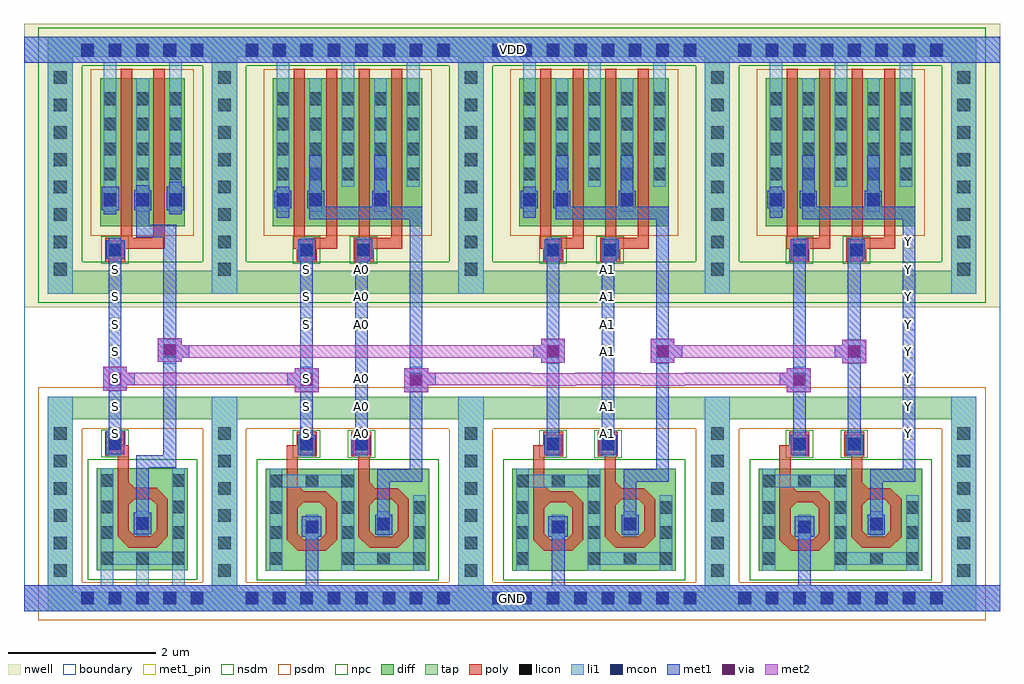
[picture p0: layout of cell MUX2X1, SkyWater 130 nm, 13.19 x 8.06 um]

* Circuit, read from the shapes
.subckt MUX2X1 A0 A1 GND S VDD Y
XM1 GND S n1 GND sky130_fd_pr__nfet_01v8 w=2.56 l=0.1478
XM2 n2 S GND GND sky130_fd_pr__nfet_01v8 w=2.6 l=0.147
XM3 n2 A0 n3 GND sky130_fd_pr__nfet_01v8 w=2.56 l=0.1475
XM4 n4 n1 GND GND sky130_fd_pr__nfet_01v8 w=2.6 l=0.147
XM5 n4 A1 n5 GND sky130_fd_pr__nfet_01v8 w=2.56 l=0.1475
XM6 n6 n3 GND GND sky130_fd_pr__nfet_01v8 w=2.6 l=0.1468
XM7 n6 n5 Y GND sky130_fd_pr__nfet_01v8 w=2.56 l=0.1473
XM8 n1 S VDD VDD sky130_fd_pr__pfet_01v8 w=2 l=0.15 m=2
XM9 n3 S VDD VDD sky130_fd_pr__pfet_01v8 w=2 l=0.15 m=2
XM10 n3 A0 VDD VDD sky130_fd_pr__pfet_01v8 w=2 l=0.15 m=2
XM11 n5 n1 VDD VDD sky130_fd_pr__pfet_01v8 w=2 l=0.15 m=2
XM12 n5 A1 VDD VDD sky130_fd_pr__pfet_01v8 w=2 l=0.15 m=2
XM13 Y n3 VDD VDD sky130_fd_pr__pfet_01v8 w=2 l=0.15 m=2
XM14 Y n5 VDD VDD sky130_fd_pr__pfet_01v8 w=2 l=0.15 m=2
.ends

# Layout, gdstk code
from math import pi, radians
import gdstk
lib = gdstk.Library(unit=1e-6, precision=1e-09)
def R(c, l, rs):  # rectangles x0, y0, x1, y1
    for r in rs: c.add(gdstk.rectangle(r[:2], r[2:], *l))
def A(c, l, x, y, w, h, nx, ny, dx, dy):  # array of equal rectangles
    R(c, l, [(x+i*dx, y+j*dy, x+i*dx+w, y+j*dy+h) for i in range(nx) for j in range(ny)])
def P(c, l, *ps):  # polygons
    for p in ps: c.add(gdstk.Polygon(p, *l))
nwell = (64, 20)
diff = (65, 20)
tap = (65, 44)
poly = (66, 20)
licon = (66, 44)
li1 = (67, 20)
mcon = (67, 44)
met1_pin = (68, 16)
met1 = (68, 20)
via = (68, 44)
met2 = (69, 20)
nsdm = (93, 44)
psdm = (94, 20)
npc = (95, 20)
boundary = (235, 4)

poly_li1_contact = lib.new_cell('poly_li1_contact')
R(poly_li1_contact, poly, [(-0.16,-0.14,0.17,0.13)])
R(poly_li1_contact, licon, [(-0.08,-0.09,0.09,0.08)])
R(poly_li1_contact, li1, [(-0.16,-0.09,0.17,0.08)])
R(poly_li1_contact, npc, [(-0.18,-0.19,0.19,0.18)])

pmos2 = lib.new_cell('pmos2')
R(pmos2, nwell, [(0.26,-2.18,1.76,0.18)])
R(pmos2, diff, [(0.44,-2,1.58,0)])
R(pmos2, poly, [(0.72,-2.305,1.31,-2.155), (0.72,-2.155,0.87,0.13), (1.16,-2.155,1.31,0.13)])
A(pmos2, licon, 0.49, -1.38, 0.17, 0.17, 3, 4, 0.44, 0.34)
R(pmos2, li1, [(0.49,-1.465,0.66,0.21), (0.93,-1.465,1.1,0), (1.37,-1.465,1.54,0.21)])
R(pmos2, psdm, [(0.315,-2.125,1.705,0.125)])

nmos_top = lib.new_cell('nmos_top')
R(nmos_top, diff, [(0,0,1.23,1.38)])
R(nmos_top, poly, [(0.42,0.31,0.8,0.46), (0.27,0.46,0.42,0.965), (0.8,0.46,0.95,0.965), (0.42,0.965,0.95,1.115), (0.8,1.115,0.95,1.54)])
P(nmos_top, poly, [(0.72,1.115),(0.8,1.115),(0.8,1.195)],
  [(0.27,0.965),(0.42,0.965),(0.42,1.115)],
  [(0.42,0.885),(0.42,0.965),(0.5,0.965)],
  [(0.72,0.965),(0.8,0.965),(0.8,0.885)],
  [(0.42,0.54),(0.42,0.46),(0.5,0.46)],
  [(0.72,0.46),(0.8,0.46),(0.8,0.54)],
  [(0.27,0.46),(0.42,0.46),(0.42,0.31)],
  [(0.8,0.31),(0.8,0.46),(0.95,0.46)])
R(nmos_top, licon, [(0.04,0.08,0.21,0.25), (0.53,0.08,0.7,0.25), (1.01,0.08,1.18,0.25), (0.04,0.43,0.21,0.6), (1.01,0.43,1.18,0.6), (0.53,0.55,0.7,0.72), (0.04,0.77,0.21,0.94), (1.01,0.77,1.18,0.94), (0.04,1.13,0.21,1.3), (1.01,1.13,1.18,1.3)])
R(nmos_top, li1, [(0.04,0,0.21,0.08), (1.01,0,1.18,0.08), (0.04,0.08,1.18,0.25), (0.04,0.25,0.21,1.38), (1.01,0.25,1.18,1.38), (0.53,0.47,0.7,0.805)])
R(nmos_top, nsdm, [(-0.125,-0.125,1.355,1.505)])

diff_ring_side = lib.new_cell('diff_ring_side')
R(diff_ring_side, nwell, [(-0.435,3.93,0.435,7.75)])
R(diff_ring_side, tap, [(-0.17,-0.17,0.17,2.72), (-0.17,4.11,0.17,7.57)])
A(diff_ring_side, licon, -0.085, 0.285, 0.17, 0.17, 1, 6, 0, 0.37)
A(diff_ring_side, licon, -0.085, 4.355, 0.17, 0.17, 1, 8, 0, 0.37)
R(diff_ring_side, li1, [(-0.17,-0.17,0.17,2.72), (-0.17,4.11,0.17,7.57)])
R(diff_ring_side, met1, [(-0.17,-0.17,0.17,0.17), (-0.17,7.23,0.17,7.57)])
R(diff_ring_side, nsdm, [(-0.295,3.985,0.295,7.695)])
R(diff_ring_side, psdm, [(-0.295,-0.295,0.295,2.845)])

invx1_pcell = lib.new_cell('invx1_pcell')
R(invx1_pcell, nwell, [(-0.435,3.93,2.655,7.75)])
A(invx1_pcell, diff, 0.59, 5.295, 0.17, 0.17, 3, 1, 0.44, 0)
R(invx1_pcell, tap, [(0.17,-0.17,2.05,0.085), (0.17,2.41,2.05,2.72), (0.17,4.11,2.05,4.42), (0.17,7.315,2.05,7.57)])
R(invx1_pcell, poly, [(0.775,1.905,0.925,2.065)])
A(invx1_pcell, licon, 0.285, -0.085, 0.17, 0.17, 5, 2, 0.37, 7.4)
A(invx1_pcell, licon, 0.59, 5.295, 0.17, 0.17, 3, 1, 0.44, 0)
A(invx1_pcell, li1, 0.59, 5.215, 0.17, 0.37, 3, 1, 0.44, 0)
R(invx1_pcell, li1, [(-0.17,-0.17,2.33,0.17), (0.545,0.17,0.715,0.42), (1.025,0.17,1.195,0.45), (1.515,0.17,1.685,0.45), (1.025,0.92,1.195,1.09), (0.655,2,0.825,2.17), (0.655,4.615,0.825,4.785), (-0.17,7.23,2.39,7.57)])
A(invx1_pcell, mcon, 0.285, -0.085, 0.17, 0.17, 5, 2, 0.37, 7.4)
A(invx1_pcell, mcon, 0.59, 5.295, 0.17, 0.17, 3, 1, 0.44, 0)
R(invx1_pcell, mcon, [(1.025,0.92,1.195,1.09), (0.655,2,0.825,2.17), (0.655,4.615,0.825,4.785)])
R(invx1_pcell, met1, [(-0.17,-0.17,2.39,0.17), (0.99,0.86,1.23,1.15), (1.025,1.15,1.195,1.755), (1.025,1.755,1.565,1.925), (1.395,1.925,1.565,4.875), (0.615,1.94,0.865,2.25), (0.655,2.25,0.825,4.58), (0.62,4.58,0.87,4.83), (0.655,4.83,0.825,4.865), (1.03,4.875,1.565,5.045), (1.03,5.045,1.2,5.24), (0.59,5.185,0.76,5.24), (1.47,5.185,1.64,5.24), (0.56,5.24,0.795,5.555), (1,5.24,1.23,5.505), (1.44,5.24,1.675,5.555), (1.03,5.505,1.2,5.575), (1.47,5.555,1.64,5.62), (-0.17,7.23,2.39,7.57)])
R(invx1_pcell, nsdm, [(0.045,3.985,2.175,4.545), (0.045,7.19,2.175,7.695)])
R(invx1_pcell, psdm, [(0.045,-0.295,2.175,0.21), (0.045,2.285,2.175,2.845), (0.465,5.17,1.765,5.59)])
invx1_pcell.add(gdstk.Reference(poly_li1_contact, (0.735,2.08), rotation=pi/2))
invx1_pcell.add(gdstk.Reference(poly_li1_contact, (0.745,4.705), rotation=3*pi/2))
invx1_pcell.add(gdstk.Reference(pmos2, (0.1,7.02)))
invx1_pcell.add(gdstk.Reference(nmos_top, (1.725,0.37), rotation=pi, x_reflection=True))
invx1_pcell.add(gdstk.Reference(diff_ring_side, (0,0)))
invx1_pcell.add(gdstk.Reference(diff_ring_side, (2.22,0)))

li1_m1_contact = lib.new_cell('li1_M1_contact')
R(li1_m1_contact, li1, [(-0.085,-0.165,0.085,0.165)])
R(li1_m1_contact, mcon, [(-0.085,-0.085,0.085,0.085)])
R(li1_m1_contact, met1, [(-0.115,-0.115,0.115,-0.085), (-0.265,-0.085,0.145,0.085), (-0.115,0.085,0.115,0.115)])

nmos_bottom = lib.new_cell('nmos_bottom')
R(nmos_bottom, diff, [(0,0,1.24,1.38)])
R(nmos_bottom, poly, [(0.43,0.27,0.81,0.42), (0.28,0.42,0.43,0.925), (0.81,0.42,0.96,0.925), (0.43,0.925,0.96,1.075), (0.81,1.075,0.96,1.51)])
P(nmos_bottom, poly, [(0.73,1.075),(0.81,1.075),(0.81,1.155)],
  [(0.28,0.925),(0.43,0.925),(0.43,1.075)],
  [(0.43,0.845),(0.43,0.925),(0.51,0.925)],
  [(0.73,0.925),(0.81,0.925),(0.81,0.845)],
  [(0.43,0.5),(0.43,0.42),(0.51,0.42)],
  [(0.73,0.42),(0.81,0.42),(0.81,0.5)],
  [(0.28,0.42),(0.43,0.42),(0.43,0.27)],
  [(0.81,0.27),(0.81,0.42),(0.96,0.42)])
A(nmos_bottom, licon, 0.05, 1.13, 0.17, 0.17, 3, 1, 0.485, 0)
R(nmos_bottom, licon, [(0.05,0.08,0.22,0.25), (1.02,0.08,1.19,0.25), (0.05,0.43,0.22,0.6), (1.02,0.43,1.19,0.6), (0.535,0.505,0.705,0.675), (0.05,0.77,0.22,0.94), (1.02,0.77,1.19,0.94)])
R(nmos_bottom, li1, [(0.05,0,0.22,1.13), (1.02,0,1.19,1.13), (0.535,0.425,0.705,0.755), (0.05,1.13,1.19,1.3), (0.05,1.3,0.22,1.38), (1.02,1.3,1.19,1.38)])
R(nmos_bottom, nsdm, [(-0.125,-0.125,1.365,1.505)])

nmos_top_trim1 = lib.new_cell('nmos_top_trim1')
R(nmos_top_trim1, diff, [(0,0,1.24,1.38)])
R(nmos_top_trim1, poly, [(0.43,0.31,0.81,0.46), (0.28,0.46,0.43,0.965), (0.81,0.46,0.96,0.965), (0.43,0.965,0.96,1.115), (0.81,1.115,0.96,1.545)])
P(nmos_top_trim1, poly, [(0.73,1.115),(0.81,1.115),(0.81,1.195)],
  [(0.28,0.965),(0.43,0.965),(0.43,1.115)],
  [(0.43,0.885),(0.43,0.965),(0.51,0.965)],
  [(0.73,0.965),(0.81,0.965),(0.81,0.885)],
  [(0.43,0.54),(0.43,0.46),(0.51,0.46)],
  [(0.73,0.46),(0.81,0.46),(0.81,0.54)],
  [(0.28,0.46),(0.43,0.46),(0.43,0.31)],
  [(0.81,0.31),(0.81,0.46),(0.96,0.46)])
A(nmos_top_trim1, licon, 0.05, 0.08, 0.17, 0.17, 3, 1, 0.485, 0)
R(nmos_top_trim1, licon, [(0.05,0.43,0.22,0.6), (1.02,0.43,1.19,0.6), (0.535,0.55,0.705,0.72), (0.05,0.77,0.22,0.94), (1.02,0.77,1.19,0.94), (1.02,1.13,1.19,1.3)])
R(nmos_top_trim1, li1, [(0.05,0,0.22,0.08), (1.02,0,1.19,0.08), (0.05,0.08,1.19,0.25), (0.05,0.25,0.22,1.02), (1.02,0.25,1.19,1.38), (0.535,0.47,0.705,0.805)])
R(nmos_top_trim1, nsdm, [(-0.125,-0.125,1.365,1.505)])

nand2x1_pcell = lib.new_cell('nand2x1_pcell')
R(nand2x1_pcell, nwell, [(0.435,3.93,2.895,7.75)])
R(nand2x1_pcell, diff, [(1.115,5.265,1.345,5.5), (1.995,5.265,2.225,5.5), (0.705,5.295,0.875,5.465)])
R(nand2x1_pcell, tap, [(0.17,-0.17,3.16,-0.15), (0.155,-0.15,3.175,0.085), (0.155,2.4,0.17,2.41), (3.16,2.4,3.175,2.41), (0.155,2.41,3.175,2.71), (0.17,2.71,3.16,2.72), (0.17,4.11,3.16,4.42), (0.17,7.315,3.16,7.57)])
R(nand2x1_pcell, poly, [(0.84,1.875,0.99,2.065), (1.81,1.91,1.96,1.915)])
A(nand2x1_pcell, licon, 0.285, -0.085, 0.17, 0.17, 8, 2, 0.37, 7.4)
R(nand2x1_pcell, licon, [(0.705,5.295,0.875,5.465), (1.145,5.295,1.315,5.465), (2.025,5.295,2.195,5.465)])
R(nand2x1_pcell, li1, [(0.165,-0.17,3.295,0.17), (1.095,0.87,1.265,1.04), (2.065,0.915,2.235,1.085), (1.025,1.995,1.195,2.165), (1.765,1.995,1.935,2.165), (1.025,4.615,1.195,4.785), (1.795,4.615,1.965,4.785), (0.705,5.215,0.875,5.61), (1.145,5.215,1.315,5.61), (2.025,5.215,2.195,5.61), (-0.17,7.23,3.17,7.57)])
A(nand2x1_pcell, mcon, 0.285, -0.085, 0.17, 0.17, 8, 2, 0.37, 7.4)
R(nand2x1_pcell, mcon, [(1.095,0.87,1.265,1.04), (2.065,0.915,2.235,1.085), (1.025,1.995,1.195,2.165), (1.765,1.995,1.935,2.165), (1.025,4.615,1.195,4.785), (1.795,4.615,1.965,4.785), (0.705,5.295,0.875,5.465), (1.145,5.295,1.315,5.465), (2.025,5.295,2.195,5.465)])
R(nand2x1_pcell, met1, [(-0.17,-0.17,3.5,0.17), (1.095,0.17,1.265,0.825), (1.045,0.825,1.31,1.1), (2.035,0.855,2.265,1.12), (2.065,1.12,2.235,1.57), (2.065,1.57,2.675,1.74), (2.505,1.74,2.675,5.115), (0.99,1.935,1.23,2.205), (1.735,1.935,1.97,2.205), (1.025,2.205,1.195,4.56), (1.765,2.205,1.935,4.555), (1.765,4.555,1.97,4.58), (0.995,4.56,1.23,4.845), (1.765,4.58,1.995,4.845), (1.145,5.115,2.675,5.265), (0.705,5.135,0.875,5.265), (0.675,5.265,0.905,5.5), (1.115,5.265,2.675,5.285), (1.115,5.285,1.345,5.5), (1.995,5.285,2.225,5.5), (0.705,5.5,0.875,5.555), (1.145,5.5,1.315,5.98), (2.025,5.5,2.195,5.98), (-0.17,7.23,3.5,7.57)])
R(nand2x1_pcell, nsdm, [(0.045,3.985,3.285,4.545), (0.045,7.19,3.285,7.695)])
R(nand2x1_pcell, psdm, [(0.045,-0.295,3.285,-0.275), (0.03,-0.275,3.3,0.21), (0.03,2.275,0.295,2.285), (3.035,2.275,3.3,2.285), (0.03,2.285,3.3,2.835), (0.045,2.835,3.285,2.845), (0.99,5.14,1.47,5.17), (1.87,5.14,2.35,5.625), (0.58,5.17,1.47,5.59), (0.99,5.59,1.47,5.625)])
nand2x1_pcell.add(gdstk.Reference(diff_ring_side, (0,0)))
nand2x1_pcell.add(gdstk.Reference(nmos_bottom, (1.8,0.365), rotation=pi, x_reflection=True))
nand2x1_pcell.add(gdstk.Reference(pmos2, (0.215,7.02)))
nand2x1_pcell.add(gdstk.Reference(poly_li1_contact, (1.115,4.705), rotation=3*pi/2))
nand2x1_pcell.add(gdstk.Reference(poly_li1_contact, (1.115,2.085), rotation=3*pi/2))
nand2x1_pcell.add(gdstk.Reference(nmos_top_trim1, (2.77,0.365), rotation=pi, x_reflection=True))
nand2x1_pcell.add(gdstk.Reference(pmos2, (1.095,7.02)))
nand2x1_pcell.add(gdstk.Reference(poly_li1_contact, (1.845,2.075), rotation=pi/2))
nand2x1_pcell.add(gdstk.Reference(poly_li1_contact, (1.885,4.705), rotation=3*pi/2))
nand2x1_pcell.add(gdstk.Reference(diff_ring_side, (3.33,0)))

mux2x1_pcell = lib.new_cell('mux2x1_pcell')
R(mux2x1_pcell, met1, [(3.17,2.78,3.49,3.1), (4.65,2.78,4.97,3.1), (9.82,2.78,10.14,3.1), (0.58,2.8,0.9,3.12), (10.57,3.17,10.89,3.49), (6.5,3.18,6.82,3.5), (7.98,3.18,8.3,3.5), (1.32,3.19,1.64,3.51)])
R(mux2x1_pcell, via, [(3.255,2.865,3.405,3.015), (4.735,2.865,4.885,3.015), (9.905,2.865,10.055,3.015), (0.665,2.885,0.815,3.035), (10.655,3.255,10.805,3.405), (6.585,3.265,6.735,3.415), (8.065,3.265,8.215,3.415), (1.405,3.275,1.555,3.425)])
R(mux2x1_pcell, met2, [(3.17,2.78,3.49,2.875), (4.65,2.78,4.97,2.875), (9.82,2.78,10.14,2.875), (0.58,2.8,0.9,2.875), (6.36,2.865,6.96,2.875), (7.84,2.865,8.44,2.875), (0.58,2.875,3.49,3.045), (4.65,2.875,10.14,3.035), (4.65,3.035,6.36,3.045), (6.96,3.035,7.84,3.045), (8.44,3.035,10.14,3.045), (0.58,3.045,0.9,3.12), (3.17,3.045,3.49,3.1), (4.65,3.045,4.97,3.1), (9.82,3.045,10.14,3.1), (10.57,3.17,10.89,3.245), (6.5,3.18,6.82,3.245), (7.98,3.18,8.3,3.245), (1.32,3.19,1.64,3.245), (1.32,3.245,6.82,3.415), (7.98,3.245,10.89,3.415), (1.32,3.415,1.64,3.51), (6.5,3.415,6.82,3.5), (7.98,3.415,8.3,3.5), (10.57,3.415,10.89,3.49)])
mux2x1_pcell.add(gdstk.Reference(invx1_pcell, (0,0)))
mux2x1_pcell.add(gdstk.Reference(li1_m1_contact, (3.33,2.96)))
mux2x1_pcell.add(gdstk.Reference(li1_m1_contact, (1.48,3.33), rotation=pi))
mux2x1_pcell.add(gdstk.Reference(li1_m1_contact, (0.74,2.96), rotation=pi))
mux2x1_pcell.add(gdstk.Reference(nand2x1_pcell, (2.22,0)))
mux2x1_pcell.add(gdstk.Reference(li1_m1_contact, (6.66,3.33)))
mux2x1_pcell.add(gdstk.Reference(li1_m1_contact, (4.81,2.96), rotation=pi))
mux2x1_pcell.add(gdstk.Reference(nand2x1_pcell, (5.55,0)))
mux2x1_pcell.add(gdstk.Reference(li1_m1_contact, (8.14,3.33), rotation=pi))
mux2x1_pcell.add(gdstk.Reference(li1_m1_contact, (9.99,2.96)))
mux2x1_pcell.add(gdstk.Reference(li1_m1_contact, (10.73,3.33)))
mux2x1_pcell.add(gdstk.Reference(nand2x1_pcell, (8.88,0)))

mux2x1 = lib.new_cell('MUX2X1')
R(mux2x1, nwell, [(0,4.11,13.19,7.94)])
R(mux2x1, tap, [(0.32,0,12.87,0.045), (0.32,7.73,12.87,7.76)])
R(mux2x1, li1, [(0,0,13.19,0.35), (0,7.41,13.19,7.76)])
A(mux2x1, met1_pin, 1.145, 2.315, 0.17, 0.17, 1, 7, 0, 0.37)
A(mux2x1, met1_pin, 3.735, 2.315, 0.17, 0.17, 1, 3, 0, 0.37)
A(mux2x1, met1_pin, 4.475, 2.315, 0.17, 0.17, 1, 3, 0, 0.37)
A(mux2x1, met1_pin, 11.875, 2.315, 0.17, 0.17, 1, 8, 0, 0.37)
A(mux2x1, met1_pin, 7.805, 3.425, 0.17, 0.17, 1, 4, 0, 0.37)
A(mux2x1, met1_pin, 3.735, 3.795, 0.17, 0.17, 1, 3, 0, 0.37)
A(mux2x1, met1_pin, 4.475, 3.795, 0.17, 0.17, 1, 3, 0, 0.37)
R(mux2x1, met1_pin, [(0,0,13.19,0.35), (7.805,2.315,7.975,2.485), (7.805,2.685,7.975,2.855), (0,7.41,13.19,7.76)])
A(mux2x1, met1, 1.145, 2.315, 0.17, 0.17, 1, 7, 0, 0.37)
A(mux2x1, met1, 3.735, 2.315, 0.17, 0.17, 1, 3, 0, 0.37)
A(mux2x1, met1, 4.475, 2.315, 0.17, 0.17, 1, 3, 0, 0.37)
A(mux2x1, met1, 11.875, 2.315, 0.17, 0.17, 1, 8, 0, 0.37)
A(mux2x1, met1, 7.805, 3.425, 0.17, 0.17, 1, 4, 0, 0.37)
A(mux2x1, met1, 3.735, 3.795, 0.17, 0.17, 1, 3, 0, 0.37)
A(mux2x1, met1, 4.475, 3.795, 0.17, 0.17, 1, 3, 0, 0.37)
R(mux2x1, met1, [(0,0,13.19,0.35), (7.805,2.315,7.975,2.485), (7.805,2.685,7.975,2.855), (0,7.41,13.19,7.76)])
R(mux2x1, nsdm, [(0.195,7.605,12.995,7.885)])
R(mux2x1, psdm, [(0.195,-0.125,12.995,0.17)])
R(mux2x1, boundary, [(0,0,13.19,7.76)])
mux2x1.add(gdstk.Reference(mux2x1_pcell, (0.49,0.18)))
mux2x1.add(gdstk.Label('Y', (11.96,2.4), layer=68, texttype=5))
mux2x1.add(gdstk.Label('Y', (11.96,2.77), layer=68, texttype=5))
mux2x1.add(gdstk.Label('Y', (11.96,3.14), layer=68, texttype=5))
mux2x1.add(gdstk.Label('Y', (11.96,4.99), layer=68, texttype=5))
mux2x1.add(gdstk.Label('Y', (11.96,4.62), layer=68, texttype=5))
mux2x1.add(gdstk.Label('Y', (11.96,4.25), layer=68, texttype=5))
mux2x1.add(gdstk.Label('Y', (11.96,3.88), layer=68, texttype=5))
mux2x1.add(gdstk.Label('Y', (11.96,3.51), layer=68, texttype=5))
mux2x1.add(gdstk.Label('A0', (4.56,2.4), layer=68, texttype=5))
mux2x1.add(gdstk.Label('A0', (4.56,2.77), layer=68, texttype=5))
mux2x1.add(gdstk.Label('A0', (4.56,3.14), layer=68, texttype=5))
mux2x1.add(gdstk.Label('A0', (4.56,4.62), layer=68, texttype=5))
mux2x1.add(gdstk.Label('A0', (4.56,4.25), layer=68, texttype=5))
mux2x1.add(gdstk.Label('A0', (4.56,3.88), layer=68, texttype=5))
mux2x1.add(gdstk.Label('A1', (7.89,4.25), layer=68, texttype=5))
mux2x1.add(gdstk.Label('A1', (7.89,4.62), layer=68, texttype=5))
mux2x1.add(gdstk.Label('A1', (7.89,2.4), layer=68, texttype=5))
mux2x1.add(gdstk.Label('A1', (7.89,2.77), layer=68, texttype=5))
mux2x1.add(gdstk.Label('A1', (7.89,3.51), layer=68, texttype=5))
mux2x1.add(gdstk.Label('A1', (7.89,3.88), layer=68, texttype=5))
mux2x1.add(gdstk.Label('S', (3.82,2.4), layer=68, texttype=5))
mux2x1.add(gdstk.Label('S', (3.82,2.77), layer=68, texttype=5))
mux2x1.add(gdstk.Label('S', (3.82,3.14), layer=68, texttype=5))
mux2x1.add(gdstk.Label('S', (3.82,3.88), layer=68, texttype=5))
mux2x1.add(gdstk.Label('S', (3.82,4.25), layer=68, texttype=5))
mux2x1.add(gdstk.Label('S', (3.82,4.62), layer=68, texttype=5))
mux2x1.add(gdstk.Label('S', (1.23,2.4), layer=68, texttype=5))
mux2x1.add(gdstk.Label('S', (1.23,2.77), layer=68, texttype=5))
mux2x1.add(gdstk.Label('S', (1.23,4.62), layer=68, texttype=5))
mux2x1.add(gdstk.Label('S', (1.23,4.25), layer=68, texttype=5))
mux2x1.add(gdstk.Label('S', (1.23,3.88), layer=68, texttype=5))
mux2x1.add(gdstk.Label('S', (1.23,3.51), layer=68, texttype=5))
mux2x1.add(gdstk.Label('S', (1.23,3.14), layer=68, texttype=5))
mux2x1.add(gdstk.Label('VDD', (6.595,7.585), layer=68, texttype=5))
mux2x1.add(gdstk.Label('GND', (6.595,0.175), layer=68, texttype=5))

lib.write_gds('MUX2X1.gds')
